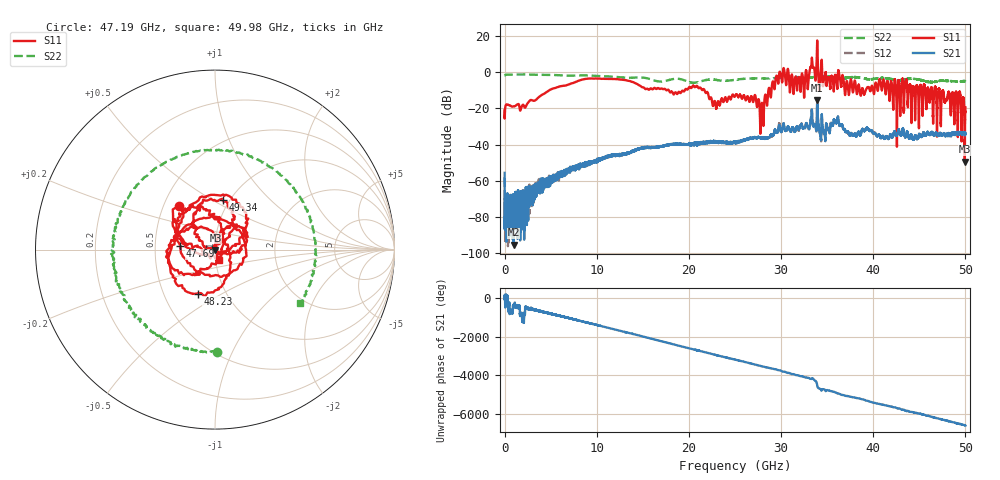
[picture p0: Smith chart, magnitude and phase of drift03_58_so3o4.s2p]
!Created with skrf (http://scikit-rf.org).
# Hz S RI R 50.0
!freq ReS11 ImS11 ReS21 ImS21 ReS12 ImS12 ReS22 ImS22
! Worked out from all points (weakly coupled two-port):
!   10001 points, 300 kHz to 50 GHz, reference 50 ohm
!   highest |S21| = -15.55 dB at 33.92 GHz (marker M1); lowest = -95.2 dB at 965.3 MHz (marker M2)
!   lowest |S11| = -49.5 dB at 49.94 GHz (marker M3), VSWR 1.01, Z = 50.2 - j0.255 ohm
!   |S11| at or under -10 dB: start of sweep to 4.85 GHz; 21.69 GHz to 28.62 GHz (6.933 GHz wide, 27.6 % of centre); 47.2 GHz to end of sweep (the widest 3 of 42)
!   |S22| runs from -5.9 to -1.3 dB; largest |S21 - S12| = 0.018
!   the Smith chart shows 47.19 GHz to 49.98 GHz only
!   S11 on the Smith chart (normalised r, x): 47.19 GHz: 0.60, +0.33; 47.69 GHz: 0.68, +0.03; 48.23 GHz: 0.74, -0.39; 49.34 GHz: 0.93, +0.56; 49.98 GHz: 1.04, -0.12
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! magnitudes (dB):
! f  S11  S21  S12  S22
! 300 kHz  -21.1  -55.6  -58.3  -2.1
! 260.3 MHz  -17.9  -79.1  -76.6  -1.4
! 965.3 MHz  -19.0  -95.2  -68.7  -1.5
! 8.335 GHz  -4.3  -51.5  -51.4  -1.9
! 16.67 GHz  -8.8  -41.4  -41.4  -5.2
! 21.01 GHz  -8.7  -39.4  -38.9  -5.5
! 22.81 GHz  -16.1  -38.6  -38.5  -4.2
! 25 GHz  -13.4  -39.0  -38.6  -4.3
! 27.92 GHz  -17.1  -36.4  -36.3  -3.5
! 29.69 GHz  -6.4  -32.2  -31.7  -3.1
! 32.32 GHz  -1.5  -30.4  -30.6  -3.3
! 33.34 GHz  7.9  -20.6  -20.9  -2.9
! 33.92 GHz  17.4  -15.5  -15.8  -2.5
! 38.82 GHz  -9.1  -31.5  -31.9  -3.4
! 41.67 GHz  -9.0  -36.7  -36.5  -3.7
! 47.19 GHz  -10.0  -34.3  -34.2  -4.9
! 47.69 GHz  -14.2  -34.4  -34.1  -4.8
! 48.23 GHz  -11.6  -34.4  -34.3  -4.9
! 49.34 GHz  -11.1  -33.7  -33.7  -5.1
! 49.94 GHz  -49.5  -33.7  -33.8  -5.0
! 49.98 GHz  -24.5  -34.4  -34.1  -5.0
! 50 GHz  -19.5  -34.1  -34.1  -5.0
